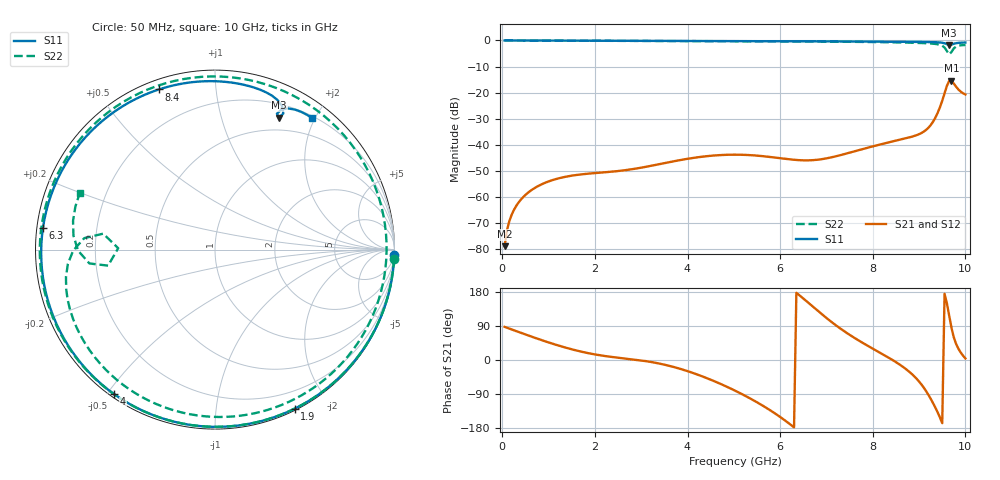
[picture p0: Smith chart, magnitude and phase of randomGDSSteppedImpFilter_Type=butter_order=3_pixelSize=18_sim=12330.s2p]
! freq	dB(S11)	phase(S11)	dB(S12)	phase(S12)
!  dB(S21)	phase(S21)	dB(S22)	phase(S22)
!S-par simulation data
#  GHz  S  DB  R 50
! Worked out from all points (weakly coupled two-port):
!   200 points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, 50 MHz to 10 GHz, reference 50 ohm
!   highest |S21| = -15.44 dB at 9.7 GHz (marker M1); lowest = -78.8 dB at 50 MHz (marker M2)
!   lowest |S11| = -1.7 dB at 9.65 GHz (marker M3), VSWR 9.96, Z = 17.4 + j77.1 ohm
!   |S11| at or under -10 dB: nowhere
!   |S22| runs from -5.4 to 0.0 dB; largest |S21 - S12| = 0
!   S11 on the Smith chart (normalised r, x): 50 MHz: 1, -65; 1.9 GHz: 0.02, -1.62; 4 GHz: 0.01, -0.52; 6.3 GHz: 0.02, +0.06; 8.4 GHz: 0.04, +0.71; 10 GHz: 0.23, +1.97
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0.05  -0.01 -1.8  -78.82 87.5  -78.82 87.5  -0.01 -2.9
0.2  -0.01 -6.9  -66.88 80.7  -66.88 80.7  -0.02 -11.5
0.5  -0.02 -17.2  -59.17 67.4  -59.17 67.4  -0.03 -28.6
1.15  -0.05 -39.1  -53.15 40.5  -53.15 40.5  -0.08 -65.1
1.75  -0.07 -58.6  -51.23 20.8  -51.23 20.8  -0.12 -97.7
1.9  -0.08 -63.3  -50.97 17.0  -50.97 17.0  -0.13 -105.7
2.7  -0.11 -87.8  -49.60 3.3  -49.60 3.3  -0.17 -148.3
3.4  -0.13 -108.1  -47.36 -9.6  -47.36 -9.6  -0.22 173.7
4  -0.16 -124.9  -45.34 -29.4  -45.34 -29.4  -0.26 139.6
4.55  -0.19 -139.8  -44.12 -54.5  -44.12 -54.5  -0.29 106.6
5.05  -0.21 -153.2  -43.77 -82.3  -43.77 -82.3  -0.32 75.7
5.7  -0.25 -170.7  -44.48 -126.1  -44.48 -126.1  -0.36 35.3
6.3  -0.30 172.9  -45.72 -177.8  -45.72 -177.8  -0.39 -0.4
6.7  -0.33 161.7  -45.87 141.5  -45.87 141.5  -0.42 -22.8
7.55  -0.40 136.7  -42.75 62.5  -42.75 62.5  -0.52 -66.7
8.35  -0.48 111.0  -39.04 5.6  -39.04 5.6  -0.69 -106.0
8.4  -0.49 109.3  -38.82 2.0  -38.82 2.0  -0.71 -108.5
9.2  -0.61 80.4  -33.48 -91.6  -33.48 -91.6  -1.11 -154.0
9.45  -0.77 69.7  -25.61 -151.4  -25.61 -151.4  -1.68 -174.3
9.65  -1.75 64.1  -15.52 117.4  -15.52 117.4  -5.36 179.2
9.7  -1.60 65.5  -15.44 84.6  -15.44 84.6  -4.40 -171.5
10  -0.81 53.4  -20.71 4.1  -20.71 4.1  -1.76 157.4
